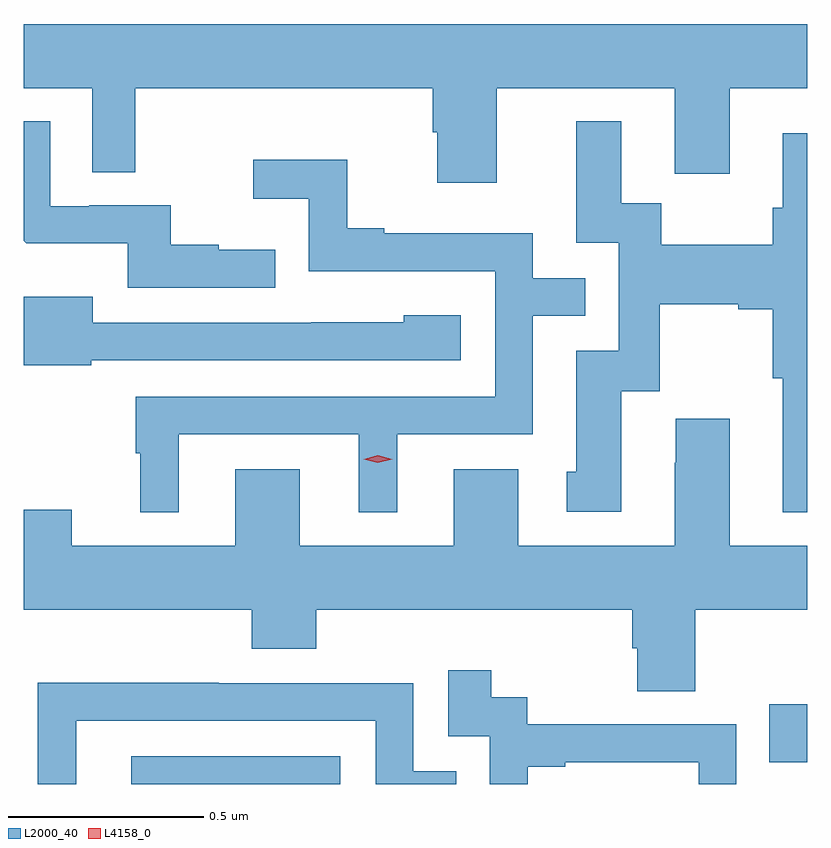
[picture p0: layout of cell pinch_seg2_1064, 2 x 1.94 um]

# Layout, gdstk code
import gdstk
lib = gdstk.Library(unit=1e-6, precision=1e-09)
def R(c, l, rs):  # rectangles x0, y0, x1, y1
    for r in rs: c.add(gdstk.rectangle(r[:2], r[2:], *l))
def P(c, l, *ps):  # polygons
    for p in ps: c.add(gdstk.Polygon(p, *l))
L2000_40 = (2000, 40)
L4158_0 = (4158, 0)

pinch_seg2_1064 = lib.new_cell('pinch_seg2_1064')
R(pinch_seg2_1064, L2000_40, [(268.395,617.887,268.929,617.958), (270.025,617.943,270.121,618.091)])
P(pinch_seg2_1064, L2000_40, [(269.329,619.664),(269.783,619.664),(269.783,619.446),(269.923,619.446),(269.923,619.664),(270.121,619.664),(270.121,619.828),(268.121,619.828),(268.121,619.664),(268.296,619.664),(268.296,619.45),(268.405,619.45),(268.405,619.664),(269.165,619.664),(269.165,619.551),(269.177,619.551),(269.177,619.422),(269.329,619.422)],
  [(268.763,619.252),(268.619,619.252),(268.619,619.264),(268.496,619.264),(268.496,619.365),(268.288,619.365),(268.288,619.362),(268.188,619.362),(268.188,619.579),(268.121,619.579),(268.121,619.274),(268.127,619.268),(268.386,619.268),(268.386,619.155),(268.763,619.155)],
  [(270.121,619.549),(270.059,619.549),(270.059,619.359),(270.034,619.359),(270.034,619.264),(269.749,619.264),(269.749,619.37),(269.647,619.37),(269.647,619.579),(269.531,619.579),(269.531,619.269),(269.64,619.269),(269.64,618.993),(269.531,618.993),(269.531,618.684),(269.507,618.684),(269.507,618.582),(269.647,618.582),(269.647,618.89),(269.745,618.89),(269.745,619.112),(269.945,619.112),(269.945,619.1),(270.034,619.1),(270.034,618.923),(270.059,618.923),(270.059,618.581),(270.121,618.581)],
  [(268.516,618.78),(268.976,618.78),(268.976,618.581),(269.074,618.581),(269.074,618.78),(269.421,618.78),(269.421,619.083),(269.555,619.083),(269.555,619.179),(269.421,619.179),(269.421,619.293),(269.041,619.293),(269.041,619.306),(268.947,619.306),(268.947,619.481),(268.707,619.481),(268.707,619.382),(268.848,619.382),(268.848,619.197),(269.325,619.197),(269.325,618.876),(268.407,618.876),(268.407,618.732),(268.418,618.732),(268.418,618.581),(268.516,618.581)],
  [(268.293,618.969),(269.236,618.969),(269.236,619.084),(269.091,619.084),(269.091,619.066),(268.855,619.066),(268.855,619.065),(268.297,619.065),(268.297,619.132),(268.121,619.132),(268.121,618.957),(268.293,618.957)],
  [(268.661,618.496),(268.243,618.496),(268.243,618.587),(268.121,618.587),(268.121,618.332),(268.703,618.332),(268.703,618.233),(268.868,618.233),(268.868,618.332),(269.675,618.332),(269.675,618.234),(269.687,618.234),(269.687,618.124),(269.835,618.124),(269.835,618.332),(270.121,618.332),(270.121,618.496),(269.923,618.496),(269.923,618.82),(269.786,618.82),(269.786,618.707),(269.783,618.707),(269.783,618.496),(269.383,618.496),(269.383,618.691),(269.219,618.691),(269.219,618.496),(268.825,618.496),(268.825,618.691),(268.661,618.691)],
  [(269.408,617.931),(269.503,617.931),(269.503,617.943),(269.844,617.943),(269.844,617.887),(269.94,617.887),(269.94,618.039),(269.406,618.039),(269.406,618.108),(269.314,618.108),(269.314,618.178),(269.205,618.178),(269.205,618.009),(269.31,618.009),(269.31,617.887),(269.408,617.887)],
  [(268.254,618.048),(269.019,618.048),(269.019,617.887),(269.225,617.887),(269.225,617.919),(269.115,617.919),(269.115,618.144),(268.619,618.144),(268.619,618.146),(268.156,618.146),(268.156,617.887),(268.254,617.887)])
P(pinch_seg2_1064, L4158_0, [(269.025,618.707),(268.989,618.717),(268.989,618.717),(268.989,618.717),(269.025,618.727),(269.061,618.717),(269.061,618.717),(269.061,618.717)])

lib.write_gds('pinch_seg2_1064.gds')
